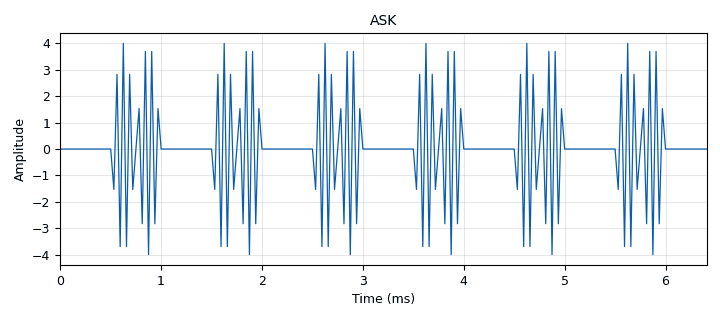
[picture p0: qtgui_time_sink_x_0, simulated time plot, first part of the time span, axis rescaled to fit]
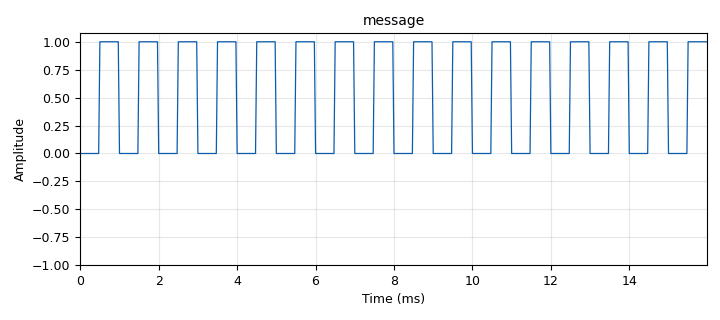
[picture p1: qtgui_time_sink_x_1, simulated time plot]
<?xml version='1.0' encoding='utf-8'?>
<?grc format='1' created='3.7.9'?>
<flow_graph>
<block>
<key>options</key>
<param><key>id</key><value>top_block</value></param>
<param><key>generate_options</key><value>qt_gui</value></param>
</block>
<block>
<key>variable_qtgui_range</key>
<param><key>id</key><value>fc</value></param>
<param><key>value</key><value>50000</value></param>
<param><key>orient</key><value>Qt.Horizontal</value></param>
<param><key>start</key><value>10000</value></param>
<param><key>step</key><value>1000</value></param>
<param><key>stop</key><value>100000</value></param>
</block>
<block>
<key>variable</key>
<param><key>id</key><value>numpoints</value></param>
<param><key>value</key><value>512</value></param>
</block>
<block>
<key>variable</key>
<param><key>id</key><value>samp_rate</value></param>
<param><key>value</key><value>32000</value></param>
</block>
<block>
<key>analog_sig_source_x</key>
<param><key>id</key><value>analog_sig_source_x_0</value></param>
<param><key>amp</key><value>4</value></param>
<param><key>freq</key><value>fc</value></param>
<param><key>offset</key><value>0</value></param>
<param><key>type</key><value>float</value></param>
<param><key>samp_rate</key><value>samp_rate</value></param>
<param><key>waveform</key><value>analog.GR_SIN_WAVE</value></param>
</block>
<block>
<key>analog_sig_source_x</key>
<param><key>id</key><value>analog_sig_source_x_1</value></param>
<param><key>amp</key><value>1</value></param>
<param><key>freq</key><value>1000</value></param>
<param><key>offset</key><value>0</value></param>
<param><key>type</key><value>float</value></param>
<param><key>samp_rate</key><value>samp_rate</value></param>
<param><key>waveform</key><value>analog.GR_SQR_WAVE</value></param>
</block>
<block>
<key>blocks_multiply_xx</key>
<param><key>id</key><value>blocks_multiply_xx_0</value></param>
<param><key>type</key><value>float</value></param>
</block>
<block>
<key>blocks_throttle</key>
<param><key>id</key><value>blocks_throttle_0</value></param>
<param><key>samples_per_second</key><value>samp_rate</value></param>
<param><key>type</key><value>float</value></param>
</block>
<block>
<key>qtgui_time_sink_x</key>
<param><key>id</key><value>qtgui_time_sink_x_0</value></param>
<param><key>color1</key><value>"blue"</value></param>
<param><key>label1</key><value></value></param>
<param><key>name</key><value>"ASK"</value></param>
<param><key>size</key><value>numpoints</value></param>
<param><key>srate</key><value>samp_rate</value></param>
<param><key>type</key><value>float</value></param>
</block>
<block>
<key>qtgui_time_sink_x</key>
<param><key>id</key><value>qtgui_time_sink_x_1</value></param>
<param><key>color1</key><value>"blue"</value></param>
<param><key>label1</key><value></value></param>
<param><key>name</key><value>"message"</value></param>
<param><key>size</key><value>numpoints</value></param>
<param><key>srate</key><value>samp_rate</value></param>
<param><key>type</key><value>float</value></param>
</block>
<connection><source_block_id>analog_sig_source_x_0</source_block_id><sink_block_id>blocks_multiply_xx_0</sink_block_id><source_key>0</source_key><sink_key>0</sink_key></connection>
<connection><source_block_id>analog_sig_source_x_1</source_block_id><sink_block_id>blocks_multiply_xx_0</sink_block_id><source_key>0</source_key><sink_key>1</sink_key></connection>
<connection><source_block_id>analog_sig_source_x_1</source_block_id><sink_block_id>qtgui_time_sink_x_1</sink_block_id><source_key>0</source_key><sink_key>0</sink_key></connection>
<connection><source_block_id>blocks_multiply_xx_0</source_block_id><sink_block_id>blocks_throttle_0</sink_block_id><source_key>0</source_key><sink_key>0</sink_key></connection>
<connection><source_block_id>blocks_throttle_0</source_block_id><sink_block_id>qtgui_time_sink_x_0</sink_block_id><source_key>0</source_key><sink_key>0</sink_key></connection>
</flow_graph>
